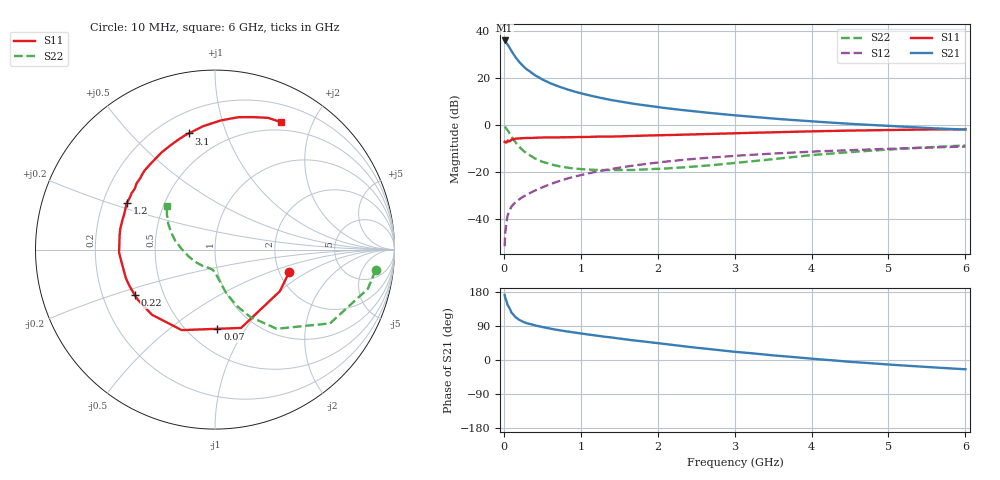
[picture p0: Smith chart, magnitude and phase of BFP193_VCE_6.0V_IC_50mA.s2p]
! Infineon Technologies  Discrete & RF Semiconductors
! BFP193
! VCE = 6.0 V,  IC =  50 mA
! Common Emitter S-Parameters:  Jan 2016
# GHz  S  MA  R  50
!  f  S11  S21  S12  S22
! GHz  MAG  ANG  MAG  ANG  MAG  ANG  MAG  ANG
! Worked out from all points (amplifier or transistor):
!   210 points, 10 MHz to 6 GHz, reference 50 ohm
!   highest |S21| = 35.8 dB at 10 MHz (marker M1)
!   |S21| within 3 dB of that: start of sweep to 72.14 MHz
!   unconditionally stable (mu >= 1): 574 MHz to 3.961 GHz
!   at 185 MHz: K = 0.67, MSG = 29.7 dB, |S12| = -32.1 dB
!   at 1.52 GHz: K = 1.07, MAG = 12.4 dB, |S12| = -18.2 dB
!   at 6 GHz: K = 0.94, MSG = 3.6 dB, |S12| = -9.3 dB
!   S11 on the Smith chart (normalised r, x): 10 MHz: 2.25, -0.70; 70 MHz: 0.69, -0.76; 220 MHz: 0.34, -0.23; 1.2 GHz: 0.30, +0.23; 3.1 GHz: 0.32, +0.75; 6 GHz: 0.40, +1.57
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0.01  0.4317 -17.1  61.9 172.0  0.0026 85.6  0.9022 -7.3
0.02  0.4295 -32.7  59.2 163.4  0.0052 79.1  0.8791 -14.4
0.05  0.46 -71.6  50.65 144.9  0.0118 66.5  0.7615 -32.7
0.07  0.4415 -88.3  44.44 138.4  0.0143 62.1  0.6718 -39.0
0.1  0.4856 -112.5  36.66 124.7  0.0182 57.9  0.5588 -52.1
0.15  0.5051 -134.1  27.38 113.0  0.0224 55.8  0.4225 -62.4
0.2  0.5129 -146.9  21.62 105.8  0.0258 56.0  0.3393 -68.6
0.22  0.5131 -150.6  20 104.0  0.0272 56.5  0.3153 -70.1
0.26  0.5178 -157.4  17.07 100.0  0.0299 57.5  0.2726 -73.4
0.3  0.5215 -162.4  14.91 96.9  0.0323 58.6  0.2439 -75.9
0.4  0.525 -171.5  11.39 91.4  0.0393 61.0  0.1924 -80.0
0.5  0.5347 -178.3  9.149 86.8  0.0464 62.6  0.1626 -83.2
0.6  0.5341 176.1  7.657 82.8  0.0539 63.2  0.1446 -86.2
0.7  0.5373 171.5  6.601 79.1  0.0615 63.6  0.1321 -89.0
1.02  0.5435 158.4  4.567 69.5  0.0858 62.6  0.113 -97.0
1.2  0.5561 152.1  3.893 64.5  0.0997 61.2  0.109 -102.8
1.6  0.5718 139.8  2.935 53.9  0.1289 56.9  0.1087 -115.6
2.02  0.5953 128.3  2.341 44.0  0.1582 51.6  0.1152 -130.6
3.1  0.6634 102.8  1.533 20.0  0.2226 37.7  0.1583 -169.5
4.1  0.7255 85.8  1.149 1.8  0.2711 25.7  0.2319 165.9
5.1  0.7725 72.6  0.923 -13.3  0.3103 14.6  0.3026 149.8
6  0.7995 62.6  0.785 -24.5  0.3427 5.2  0.3613 138.0
